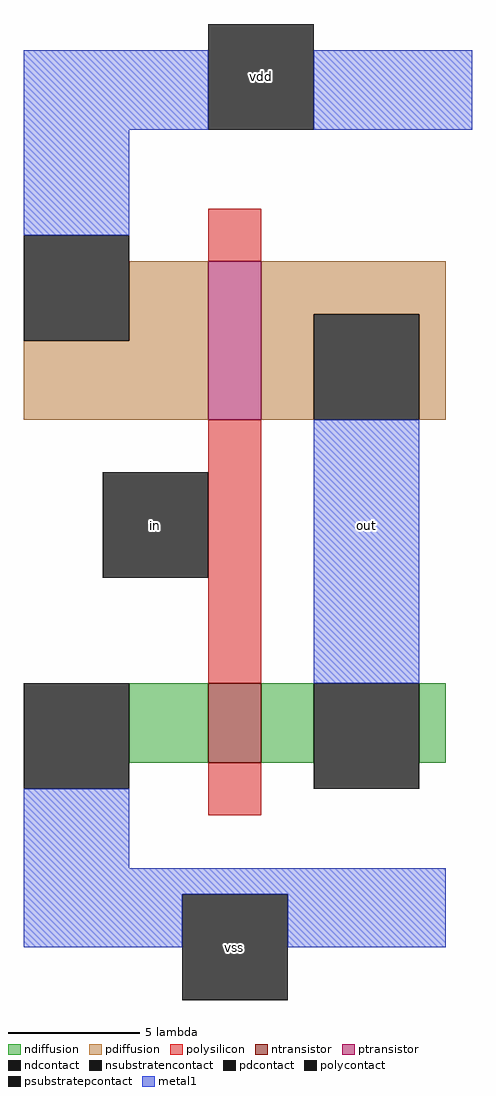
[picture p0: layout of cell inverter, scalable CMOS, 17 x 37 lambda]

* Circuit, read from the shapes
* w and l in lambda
.subckt inverter in out vdd vss
M1 out in vss vss nfet w=3 l=2
M2 out in vdd vdd pfet w=6 l=2
.ends

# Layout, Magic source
magic
tech scmos
<< polysilicon >>
rect 7 19 9 21
rect 7 3 9 13
rect 7 -2 9 0
<< ndiffusion >>
rect 4 0 7 3
rect 9 0 11 3
rect 15 0 16 3
<< pdiffusion >>
rect 4 16 7 19
rect 0 13 7 16
rect 9 17 16 19
rect 9 13 11 17
rect 15 13 16 17
<< metal1 >>
rect 0 24 7 27
rect 11 24 17 27
rect 0 20 4 24
rect 11 3 15 13
rect 0 -4 4 -1
rect 0 -5 16 -4
rect 0 -7 6 -5
rect 10 -7 16 -5
<< ntransistor >>
rect 7 0 9 3
<< ptransistor >>
rect 7 13 9 19
<< polycontact >>
rect 3 7 7 11
<< ndcontact >>
rect 0 -1 4 3
rect 11 -1 15 3
<< pdcontact >>
rect 0 16 4 20
rect 11 13 15 17
<< psubstratepcontact >>
rect 6 -9 10 -5
<< nsubstratencontact >>
rect 7 24 11 28
<< labels >>
rlabel metal1 11 7 15 11 7 out
rlabel polycontact 3 7 7 11 3 in
rlabel nsubstratencontact 7 24 11 28 5 vdd
rlabel psubstratepcontact 6 -9 10 -5 1 vss
<< end >>
